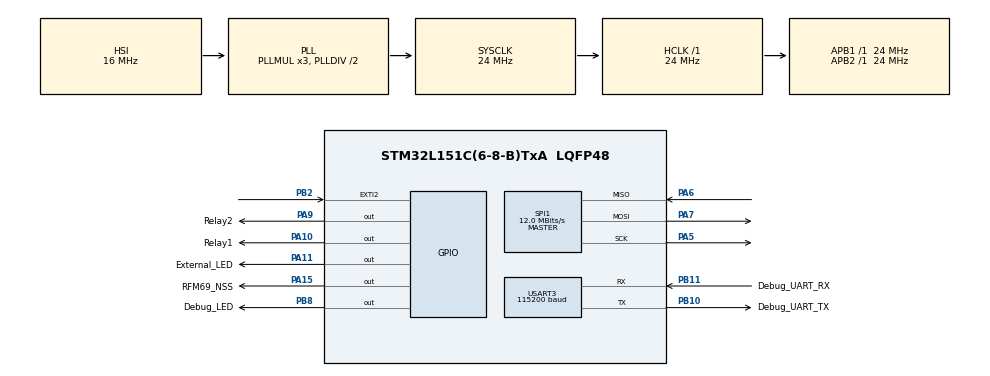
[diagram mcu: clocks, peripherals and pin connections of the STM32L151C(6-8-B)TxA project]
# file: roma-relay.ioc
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Mcu.Family=STM32L1
Mcu.Name=STM32L151C(6-8-B)TxA
Mcu.Package=LQFP48
NVIC.EXTI2_IRQn=true\:0\:0\:false\:false\:true\:true\:true\:true
NVIC.PriorityGroup=NVIC_PRIORITYGROUP_4
PA10.GPIO_Label=Relay1
PA10.Signal=GPIO_Output
PA11.GPIO_Label=External_LED
PA11.Signal=GPIO_Output
PA13.GPIO_Label=Programmer_DIO
PA13.Signal=SYS_JTMS-SWDIO
PA14.GPIO_Label=Programmer_CLK
PA14.Signal=SYS_JTCK-SWCLK
PA15.GPIO_Label=RFM69_NSS
PA15.Signal=GPIO_Output
PA5.Mode=Full_Duplex_Master
PA5.Signal=SPI1_SCK
PA6.Mode=Full_Duplex_Master
PA6.Signal=SPI1_MISO
PA7.Mode=Full_Duplex_Master
PA7.Signal=SPI1_MOSI
PA9.GPIO_Label=Relay2
PA9.Signal=GPIO_Output
PB10.GPIO_Label=Debug_UART_TX
PB10.Mode=Asynchronous
PB10.Signal=USART3_TX
PB11.GPIO_Label=Debug_UART_RX
PB11.Mode=Asynchronous
PB11.Signal=USART3_RX
PB2.Signal=GPXTI2
PB8.GPIO_Label=Debug_LED
PB8.Signal=GPIO_Output
ProjectManager.HeapSize=0x200
ProjectManager.StackSize=0x400
ProjectManager.TargetToolchain=STM32CubeIDE
RCC.48MHZClocksFreq_Value=24000000
RCC.AHBFreq_Value=24000000
RCC.APB1Freq_Value=24000000
RCC.APB1TimFreq_Value=24000000
RCC.APB2Freq_Value=24000000
RCC.APB2TimFreq_Value=24000000
RCC.HCLKFreq_Value=24000000
RCC.HSE_VALUE=24000000
RCC.HSI_VALUE=16000000
RCC.LSE_VALUE=32768
RCC.MSI_VALUE=2097000
RCC.SYSCLKFreq_VALUE=24000000
RCC.SYSCLKSource=RCC_SYSCLKSOURCE_PLLCLK
RCC.VCOOutputFreq_Value=48000000
SPI1.CalculateBaudRate=12.0 MBits/s
SPI1.Direction=SPI_DIRECTION_2LINES
SPI1.Mode=SPI_MODE_MASTER
SPI1.VirtualType=VM_MASTER
USART3.BaudRate=115200
USART3.Mode=MODE_TX_RX
USART3.Parity=PARITY_NONE
USART3.VirtualMode=VM_ASYNC
board=custom

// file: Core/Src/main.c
/* USER CODE BEGIN Header */
/* USER CODE END Header */
#include "main.h"

/* USER CODE BEGIN Includes */
#include "debug.h"
#include "config.h"
#include "rfm69/include/rfm69.h"
#include "rfm-protocol/include/command.h"
#include "rfm-protocol/include/settings.h"
#include "ack.h"
#include "command_handler.h"
#include "settings.h"

/* USER CODE END Includes */

SPI_HandleTypeDef hspi1;

UART_HandleTypeDef huart3;

/* USER CODE BEGIN PV */
RFM69 RFM;
/* USER CODE END PV */

void SystemClock_Config(void);
static void MX_GPIO_Init(void);
static void MX_USART3_UART_Init(void);
static void MX_SPI1_Init(void);
/* USER CODE BEGIN PFP */
HAL_StatusTypeDef check_expected_acks(AckManager* ackManager, RFM69* rfm);
HAL_StatusTypeDef handle_packet_received(RFM69* rfm, AckManager* ackManager);
/* USER CODE END PFP */

int main(void)
{

  /* MCU Configuration--------------------------------------------------------*/

  /* Reset of all peripherals, Initializes the Flash interface and the Systick. */
  HAL_Init();

  /* Configure the system clock */
  SystemClock_Config();

  /* Initialize all configured peripherals */
  MX_GPIO_Init();
  MX_USART3_UART_Init();
  MX_SPI1_Init();
  /* USER CODE BEGIN 2 */
  RFM = get_rfm(&hspi1, RFM69_NSS_GPIO_Port, RFM69_NSS_Pin, RfmOwnId);
  AckManager ackManager = init_ackmanager();

  // Initialize the RFM69
  HAL_StatusTypeDef result = init(&RFM, RfmNetworkId);
  if(result != HAL_OK) {
    debug_print("Failed to init RFM");
    Error_Handler();
    return 1;
  }

  // Request settings from the gateway
  result = request_settings(&ackManager, &RFM);
  if(result != HAL_OK) {
    debug_print("Failed to request new settings");
    Error_Handler();
    return 1;
  }

  // Start listening for commands and the settings reply
  result = receive_begin(&RFM);
  if(result != HAL_OK) {
    debug_print("Failed to start receiving on RFM");
    Error_Handler();
    return 1;
  }
  /* USER CODE END 2 */

  /* Infinite loop */
  /* USER CODE BEGIN WHILE */
  while (1) {
    // Check for any ACKs were still expecting but have not yet received.
    // Send out the data again
    result = check_expected_acks(&ackManager, &RFM);
    if(result != HAL_OK) {
      Error_Handler();
      return 1;
    }

    // We've received a message
    if(RFM.datalen > 0) {

      // Process the received message
      result = handle_packet_received(&RFM, &ackManager);
      if(result != HAL_OK) {
        return 1;
      }

      // Reset and start listening again
      RFM.datalen = 0;
      result = receive_begin(&RFM);
      if(result != HAL_OK) {
        Error_Handler();
        return 1;
      }
    }

    /* USER CODE END WHILE */

  }
}

void SystemClock_Config(void)
{
  RCC_OscInitTypeDef RCC_OscInitStruct = {0};
  RCC_ClkInitTypeDef RCC_ClkInitStruct = {0};

  /** Configure the main internal regulator output voltage
  */
  __HAL_PWR_VOLTAGESCALING_CONFIG(PWR_REGULATOR_VOLTAGE_SCALE1);

  /** Initializes the RCC Oscillators according to the specified parameters
  * in the RCC_OscInitTypeDef structure.
  */
  RCC_OscInitStruct.OscillatorType = RCC_OSCILLATORTYPE_HSI;
  RCC_OscInitStruct.HSIState = RCC_HSI_ON;
  RCC_OscInitStruct.HSICalibrationValue = RCC_HSICALIBRATION_DEFAULT;
  RCC_OscInitStruct.PLL.PLLState = RCC_PLL_ON;
  RCC_OscInitStruct.PLL.PLLSource = RCC_PLLSOURCE_HSI;
  RCC_OscInitStruct.PLL.PLLMUL = RCC_PLL_MUL3;
  RCC_OscInitStruct.PLL.PLLDIV = RCC_PLL_DIV2;
  if (HAL_RCC_OscConfig(&RCC_OscInitStruct) != HAL_OK)
  {
    Error_Handler();
  }

  /** Initializes the CPU, AHB and APB buses clocks
  */
  RCC_ClkInitStruct.ClockType = RCC_CLOCKTYPE_HCLK|RCC_CLOCKTYPE_SYSCLK
                              |RCC_CLOCKTYPE_PCLK1|RCC_CLOCKTYPE_PCLK2;
  RCC_ClkInitStruct.SYSCLKSource = RCC_SYSCLKSOURCE_PLLCLK;
  RCC_ClkInitStruct.AHBCLKDivider = RCC_SYSCLK_DIV1;
  RCC_ClkInitStruct.APB1CLKDivider = RCC_HCLK_DIV1;
  RCC_ClkInitStruct.APB2CLKDivider = RCC_HCLK_DIV1;

  if (HAL_RCC_ClockConfig(&RCC_ClkInitStruct, FLASH_LATENCY_1) != HAL_OK)
  {
    Error_Handler();
  }
}

static void MX_SPI1_Init(void)
{

  /* SPI1 parameter configuration*/
  hspi1.Instance = SPI1;
  hspi1.Init.Mode = SPI_MODE_MASTER;
  hspi1.Init.Direction = SPI_DIRECTION_2LINES;
  hspi1.Init.DataSize = SPI_DATASIZE_8BIT;
  hspi1.Init.CLKPolarity = SPI_POLARITY_LOW;
  hspi1.Init.CLKPhase = SPI_PHASE_1EDGE;
  hspi1.Init.NSS = SPI_NSS_SOFT;
  hspi1.Init.BaudRatePrescaler = SPI_BAUDRATEPRESCALER_2;
  hspi1.Init.FirstBit = SPI_FIRSTBIT_MSB;
  hspi1.Init.TIMode = SPI_TIMODE_DISABLE;
  hspi1.Init.CRCCalculation = SPI_CRCCALCULATION_DISABLE;
  hspi1.Init.CRCPolynomial = 10;
  if (HAL_SPI_Init(&hspi1) != HAL_OK)
  {
    Error_Handler();
  }

}

static void MX_USART3_UART_Init(void)
{

  huart3.Instance = USART3;
  huart3.Init.BaudRate = 115200;
  huart3.Init.WordLength = UART_WORDLENGTH_8B;
  huart3.Init.StopBits = UART_STOPBITS_1;
  huart3.Init.Parity = UART_PARITY_NONE;
  huart3.Init.Mode = UART_MODE_TX_RX;
  huart3.Init.HwFlowCtl = UART_HWCONTROL_NONE;
  huart3.Init.OverSampling = UART_OVERSAMPLING_16;
  if (HAL_UART_Init(&huart3) != HAL_OK)
  {
    Error_Handler();
  }

}

static void MX_GPIO_Init(void)
{
  GPIO_InitTypeDef GPIO_InitStruct = {0};

  /* GPIO Ports Clock Enable */
  __HAL_RCC_GPIOC_CLK_ENABLE();
  __HAL_RCC_GPIOH_CLK_ENABLE();
  __HAL_RCC_GPIOA_CLK_ENABLE();
  __HAL_RCC_GPIOB_CLK_ENABLE();

  /*Configure GPIO pin Output Level */
  HAL_GPIO_WritePin(GPIOA, Relay2_Pin|Relay1_Pin|External_LED_Pin|RFM69_NSS_Pin, GPIO_PIN_RESET);

  /*Configure GPIO pin Output Level */
  HAL_GPIO_WritePin(Debug_LED_GPIO_Port, Debug_LED_Pin, GPIO_PIN_RESET);

  /*Configure GPIO pins : PC13 PC14 PC15 */
  GPIO_InitStruct.Pin = GPIO_PIN_13|GPIO_PIN_14|GPIO_PIN_15;
  GPIO_InitStruct.Mode = GPIO_MODE_ANALOG;
  GPIO_InitStruct.Pull = GPIO_NOPULL;
  HAL_GPIO_Init(GPIOC, &GPIO_InitStruct);

  /*Configure GPIO pins : PH0 PH1 */
  GPIO_InitStruct.Pin = GPIO_PIN_0|GPIO_PIN_1;
  GPIO_InitStruct.Mode = GPIO_MODE_ANALOG;
  GPIO_InitStruct.Pull = GPIO_NOPULL;
  HAL_GPIO_Init(GPIOH, &GPIO_InitStruct);

  /*Configure GPIO pins : PA0 PA1 PA2 PA3
                           PA4 PA8 PA12 */
  GPIO_InitStruct.Pin = GPIO_PIN_0|GPIO_PIN_1|GPIO_PIN_2|GPIO_PIN_3
                          |GPIO_PIN_4|GPIO_PIN_8|GPIO_PIN_12;
  GPIO_InitStruct.Mode = GPIO_MODE_ANALOG;
  GPIO_InitStruct.Pull = GPIO_NOPULL;
  HAL_GPIO_Init(GPIOA, &GPIO_InitStruct);

  /*Configure GPIO pins : PB0 PB1 PB12 PB13
                           PB14 PB15 PB3 PB4
                           PB5 PB6 PB7 PB9 */
  GPIO_InitStruct.Pin = GPIO_PIN_0|GPIO_PIN_1|GPIO_PIN_12|GPIO_PIN_13
                          |GPIO_PIN_14|GPIO_PIN_15|GPIO_PIN_3|GPIO_PIN_4
                          |GPIO_PIN_5|GPIO_PIN_6|GPIO_PIN_7|GPIO_PIN_9;
  GPIO_InitStruct.Mode = GPIO_MODE_ANALOG;
  GPIO_InitStruct.Pull = GPIO_NOPULL;
  HAL_GPIO_Init(GPIOB, &GPIO_InitStruct);

  /*Configure GPIO pin : PB2 */
  GPIO_InitStruct.Pin = GPIO_PIN_2;
  GPIO_InitStruct.Mode = GPIO_MODE_IT_RISING;
  GPIO_InitStruct.Pull = GPIO_NOPULL;
  HAL_GPIO_Init(GPIOB, &GPIO_InitStruct);

  /*Configure GPIO pins : Relay2_Pin Relay1_Pin External_LED_Pin RFM69_NSS_Pin */
  GPIO_InitStruct.Pin = Relay2_Pin|Relay1_Pin|External_LED_Pin|RFM69_NSS_Pin;
  GPIO_InitStruct.Mode = GPIO_MODE_OUTPUT_PP;
  GPIO_InitStruct.Pull = GPIO_NOPULL;
  GPIO_InitStruct.Speed = GPIO_SPEED_FREQ_LOW;
  HAL_GPIO_Init(GPIOA, &GPIO_InitStruct);

  /*Configure GPIO pin : Debug_LED_Pin */
  GPIO_InitStruct.Pin = Debug_LED_Pin;
  GPIO_InitStruct.Mode = GPIO_MODE_OUTPUT_PP;
  GPIO_InitStruct.Pull = GPIO_NOPULL;
  GPIO_InitStruct.Speed = GPIO_SPEED_FREQ_LOW;
  HAL_GPIO_Init(Debug_LED_GPIO_Port, &GPIO_InitStruct);

  /* EXTI interrupt init*/
  HAL_NVIC_SetPriority(EXTI2_IRQn, 0, 0);
  HAL_NVIC_EnableIRQ(EXTI2_IRQn);

}

/* USER CODE BEGIN 4 */
/**
 * Check for any ACKs were still waiting to receive.
 * Resend the data if necessary.
 * @param ackManager The ACK manager
 * @param rfm RFM transceiver
 * @return Status result
 */
HAL_StatusTypeDef check_expected_acks(AckManager* ackManager, RFM69* rfm) {
  Ack pendingAcks[ackManager->lastExpectingAckIndex + 1];
  int pendingCount = get_pending_acks(ackManager, pendingAcks);

  for(int i = 0; i < pendingCount; i++) {
    Ack pendingAck = pendingAcks[i];

    HAL_StatusTypeDef result = send(rfm, RfmOwnId, RfmGatewayId, pendingAck.data, pendingAck.datalen);
    if(result != HAL_OK) {
      return result;
    }

    remove_ack(ackManager, pendingAck.ackId);
    add_ack(ackManager, pendingAck);
  }

  return HAL_OK;
}

/**
 * Handle a received packet and apply its data.
 * @param rfm RFM transceiver
 * @param ackManager The ACK manager
 * @return Status result
 */
HAL_StatusTypeDef handle_packet_received(RFM69* rfm, AckManager* ackManager) {
  switch(rfm->data[0]) {
    case CommandPacketIdentifier: {
      CommandPacket packet;
      deserialize_command(&packet, RFM.data);

      if(packet.serialNumber != SerialNumber) {
        return HAL_OK;
      }

      // ACK packet
      if((packet.flags & CommandPacket_Flag_isAck) != 0) {
        remove_ack(ackManager, packet.ackId);
        return HAL_OK;
      }

      // Construct ACK
      CommandPacket ackPacket;
      ackPacket.serialNumber = SerialNumber;
      ackPacket.ackId = generate_ack_id();
      ackPacket.flags = CommandPacket_Flag_isAck;

      // Send ACK
      uint8_t buffer[32];
      int length = serialize_command(buffer, &ackPacket);
      HAL_StatusTypeDef result = send(rfm, RfmOwnId, RfmGatewayId, buffer, length);
      if(result != HAL_OK) {
        return result;
      }

      execute_command_packet(&packet);
      break;
    }
    case SettingsPacketIdentifier: {
      SettingsPacket packet;
      deserialize_settings(&packet, RFM.data);

      if(packet.serialNumber != SerialNumber) {
        return HAL_OK;
      }

      // ACK packet
      if((packet.flags & SettingsPacket_Flag_isAck) != 0) {
        remove_ack(ackManager, packet.ackId);
        return HAL_OK;
      }

      // Construct ACK
      SettingsPacket ackPacket;
      ackPacket.serialNumber = SerialNumber;
      ackPacket.ackId = generate_ack_id();
      ackPacket.flags = SettingsPacket_Flag_isAck;

      // Send ACK
      uint8_t buffer[32];
      int length = serialize_settings(buffer, &ackPacket);
      HAL_StatusTypeDef result = send(rfm, RfmOwnId, RfmGatewayId, buffer, length);
      if(result != HAL_OK) {
        return result;
      }

      // Apply the settings
      if(packet.onOff.relay1DefaultOn) {
        HAL_GPIO_WritePin(Relay1_GPIO_Port, Relay1_Pin, GPIO_PIN_SET);
      }

      if(packet.onOff.relay2DefaultOn) {
        HAL_GPIO_WritePin(Relay2_GPIO_Port, Relay2_Pin, GPIO_PIN_SET);
      }

      break;
    }
  }

  return HAL_OK;
}
/* USER CODE END 4 */

void Error_Handler(void)
{
  __disable_irq();
  while (1) {
  }
}
